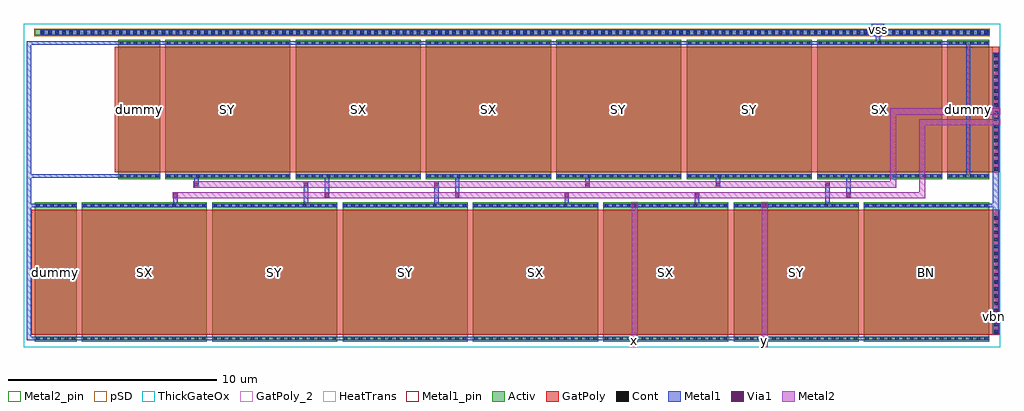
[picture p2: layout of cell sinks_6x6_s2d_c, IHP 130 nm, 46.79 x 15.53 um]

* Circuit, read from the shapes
.subckt sinks_6x6_s2d_c vbn vss x y
XM1 vss vbn vss vss sg13_hv_nmos w=2u l=6u m=3
XM2 x vbn vss vss sg13_hv_nmos w=6u l=6u m=6
XM3 vss vbn y vss sg13_hv_nmos w=6u l=6u m=6
XM4 vbn vbn vss vss sg13_hv_nmos w=6u l=6u
.ends

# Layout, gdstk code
import gdstk
lib = gdstk.Library(unit=1e-6, precision=1e-09)
def R(c, l, rs):  # rectangles x0, y0, x1, y1
    for r in rs: c.add(gdstk.rectangle(r[:2], r[2:], *l))
def A(c, l, x, y, w, h, nx, ny, dx, dy):  # array of equal rectangles
    R(c, l, [(x+i*dx, y+j*dy, x+i*dx+w, y+j*dy+h) for i in range(nx) for j in range(ny)])
Activ = (1, 0)
GatPoly = (5, 0)
GatPoly_2 = (5, 2)
Cont = (6, 0)
Metal1 = (8, 0)
Metal1_pin = (8, 2)
Metal2 = (10, 0)
Metal2_pin = (10, 2)
pSD = (14, 0)
Via1 = (19, 0)
ThickGateOx = (44, 0)
HeatTrans = (51, 0)

sinks_6x6_s2d_c = lib.new_cell('sinks_6x6_s2d_c')
A(sinks_6x6_s2d_c, Activ, 2.22, 0.27, 0.3, 0.3, 8, 2, 6.25, 6.38)
A(sinks_6x6_s2d_c, Activ, 2.77, 0.27, 6, 6.68, 7, 1, 6.25, 0)
A(sinks_6x6_s2d_c, Activ, 6.22, 8.065, 0.3, 0.3, 7, 2, 6.25, 6.38)
A(sinks_6x6_s2d_c, Activ, 6.77, 8.065, 6, 6.68, 6, 1, 6.25, 0)
R(sinks_6x6_s2d_c, Activ, [(0.52,0.27,2.52,6.95), (4.52,8.065,6.52,14.745), (44.27,8.065,46.27,14.745), (45.97,8.065,46.27,8.365), (45.97,14.445,46.27,14.745), (0.52,14.955,46.27,15.255)])
A(sinks_6x6_s2d_c, GatPoly, 2.59, 0.61, 6.36, 6, 7, 1, 6.25, 0)
A(sinks_6x6_s2d_c, GatPoly, 6.59, 8.405, 6.36, 6, 6, 1, 6.25, 0)
R(sinks_6x6_s2d_c, GatPoly, [(0.34,0.61,2.7,6.61), (46.27,0.61,46.745,6.61), (4.34,8.405,6.7,14.405), (44.09,8.405,46.45,14.405), (46.27,8.405,46.745,14.405)])
A(sinks_6x6_s2d_c, GatPoly_2, 2.59, 0.61, 6.36, 6, 7, 1, 6.25, 0)
A(sinks_6x6_s2d_c, GatPoly_2, 6.59, 8.405, 6.36, 6, 6, 1, 6.25, 0)
R(sinks_6x6_s2d_c, GatPoly_2, [(0.34,0.61,2.7,6.61), (4.34,8.405,6.7,14.405), (44.09,8.405,46.45,14.405)])
A(sinks_6x6_s2d_c, Cont, 0.59, 0.34, 0.16, 0.16, 6, 2, 0.34, 6.38)
A(sinks_6x6_s2d_c, Cont, 3.2, 0.34, 0.16, 0.16, 4, 2, 0.355, 6.38)
A(sinks_6x6_s2d_c, Cont, 4.625, 0.34, 0.16, 0.16, 4, 2, 0.355, 6.38)
A(sinks_6x6_s2d_c, Cont, 6.05, 0.34, 0.16, 0.16, 4, 2, 0.355, 6.38)
A(sinks_6x6_s2d_c, Cont, 7.475, 0.34, 0.16, 0.16, 4, 2, 0.355, 6.38)
A(sinks_6x6_s2d_c, Cont, 9.45, 0.34, 0.16, 0.16, 4, 2, 0.355, 6.38)
A(sinks_6x6_s2d_c, Cont, 10.875, 0.34, 0.16, 0.16, 4, 2, 0.355, 6.38)
A(sinks_6x6_s2d_c, Cont, 12.3, 0.34, 0.16, 0.16, 4, 2, 0.355, 6.38)
A(sinks_6x6_s2d_c, Cont, 13.725, 0.34, 0.16, 0.16, 4, 2, 0.355, 6.38)
A(sinks_6x6_s2d_c, Cont, 15.7, 0.34, 0.16, 0.16, 4, 2, 0.355, 6.38)
A(sinks_6x6_s2d_c, Cont, 17.125, 0.34, 0.16, 0.16, 4, 2, 0.355, 6.38)
A(sinks_6x6_s2d_c, Cont, 18.55, 0.34, 0.16, 0.16, 4, 2, 0.355, 6.38)
A(sinks_6x6_s2d_c, Cont, 19.975, 0.34, 0.16, 0.16, 4, 2, 0.355, 6.38)
A(sinks_6x6_s2d_c, Cont, 21.95, 0.34, 0.16, 0.16, 4, 2, 0.355, 6.38)
A(sinks_6x6_s2d_c, Cont, 23.375, 0.34, 0.16, 0.16, 4, 2, 0.355, 6.38)
A(sinks_6x6_s2d_c, Cont, 24.8, 0.34, 0.16, 0.16, 4, 2, 0.355, 6.38)
A(sinks_6x6_s2d_c, Cont, 26.225, 0.34, 0.16, 0.16, 4, 2, 0.355, 6.38)
A(sinks_6x6_s2d_c, Cont, 28.2, 0.34, 0.16, 0.16, 4, 2, 0.355, 6.38)
A(sinks_6x6_s2d_c, Cont, 29.625, 0.34, 0.16, 0.16, 4, 2, 0.355, 6.38)
A(sinks_6x6_s2d_c, Cont, 31.05, 0.34, 0.16, 0.16, 4, 2, 0.355, 6.38)
A(sinks_6x6_s2d_c, Cont, 32.475, 0.34, 0.16, 0.16, 4, 2, 0.355, 6.38)
A(sinks_6x6_s2d_c, Cont, 34.45, 0.34, 0.16, 0.16, 4, 2, 0.355, 6.38)
A(sinks_6x6_s2d_c, Cont, 35.875, 0.34, 0.16, 0.16, 4, 2, 0.355, 6.38)
A(sinks_6x6_s2d_c, Cont, 37.3, 0.34, 0.16, 0.16, 4, 2, 0.355, 6.38)
A(sinks_6x6_s2d_c, Cont, 38.725, 0.34, 0.16, 0.16, 4, 2, 0.355, 6.38)
A(sinks_6x6_s2d_c, Cont, 40.7, 0.34, 0.16, 0.16, 4, 2, 0.355, 6.38)
A(sinks_6x6_s2d_c, Cont, 42.125, 0.34, 0.16, 0.16, 4, 2, 0.355, 6.38)
A(sinks_6x6_s2d_c, Cont, 43.55, 0.34, 0.16, 0.16, 4, 2, 0.355, 6.38)
A(sinks_6x6_s2d_c, Cont, 44.975, 0.34, 0.16, 0.16, 4, 2, 0.355, 6.38)
A(sinks_6x6_s2d_c, Cont, 46.515, 0.68, 0.16, 0.16, 1, 17, 0, 0.34)
A(sinks_6x6_s2d_c, Cont, 4.59, 8.135, 0.16, 0.16, 6, 2, 0.34, 6.38)
A(sinks_6x6_s2d_c, Cont, 7.2, 8.135, 0.16, 0.16, 4, 2, 0.355, 6.38)
A(sinks_6x6_s2d_c, Cont, 8.625, 8.135, 0.16, 0.16, 4, 2, 0.355, 6.38)
A(sinks_6x6_s2d_c, Cont, 10.05, 8.135, 0.16, 0.16, 4, 2, 0.355, 6.38)
A(sinks_6x6_s2d_c, Cont, 11.475, 8.135, 0.16, 0.16, 4, 2, 0.355, 6.38)
A(sinks_6x6_s2d_c, Cont, 13.45, 8.135, 0.16, 0.16, 4, 2, 0.355, 6.38)
A(sinks_6x6_s2d_c, Cont, 14.875, 8.135, 0.16, 0.16, 4, 2, 0.355, 6.38)
A(sinks_6x6_s2d_c, Cont, 16.3, 8.135, 0.16, 0.16, 4, 2, 0.355, 6.38)
A(sinks_6x6_s2d_c, Cont, 17.725, 8.135, 0.16, 0.16, 4, 2, 0.355, 6.38)
A(sinks_6x6_s2d_c, Cont, 19.7, 8.135, 0.16, 0.16, 4, 2, 0.355, 6.38)
A(sinks_6x6_s2d_c, Cont, 21.125, 8.135, 0.16, 0.16, 4, 2, 0.355, 6.38)
A(sinks_6x6_s2d_c, Cont, 22.55, 8.135, 0.16, 0.16, 4, 2, 0.355, 6.38)
A(sinks_6x6_s2d_c, Cont, 23.975, 8.135, 0.16, 0.16, 4, 2, 0.355, 6.38)
A(sinks_6x6_s2d_c, Cont, 25.95, 8.135, 0.16, 0.16, 4, 2, 0.355, 6.38)
A(sinks_6x6_s2d_c, Cont, 27.375, 8.135, 0.16, 0.16, 4, 2, 0.355, 6.38)
A(sinks_6x6_s2d_c, Cont, 28.8, 8.135, 0.16, 0.16, 4, 2, 0.355, 6.38)
A(sinks_6x6_s2d_c, Cont, 30.225, 8.135, 0.16, 0.16, 4, 2, 0.355, 6.38)
A(sinks_6x6_s2d_c, Cont, 32.2, 8.135, 0.16, 0.16, 4, 2, 0.355, 6.38)
A(sinks_6x6_s2d_c, Cont, 33.625, 8.135, 0.16, 0.16, 4, 2, 0.355, 6.38)
A(sinks_6x6_s2d_c, Cont, 35.05, 8.135, 0.16, 0.16, 4, 2, 0.355, 6.38)
A(sinks_6x6_s2d_c, Cont, 36.475, 8.135, 0.16, 0.16, 4, 2, 0.355, 6.38)
A(sinks_6x6_s2d_c, Cont, 38.45, 8.135, 0.16, 0.16, 4, 2, 0.355, 6.38)
A(sinks_6x6_s2d_c, Cont, 39.875, 8.135, 0.16, 0.16, 4, 2, 0.355, 6.38)
A(sinks_6x6_s2d_c, Cont, 41.3, 8.135, 0.16, 0.16, 4, 2, 0.355, 6.38)
A(sinks_6x6_s2d_c, Cont, 42.725, 8.135, 0.16, 0.16, 4, 2, 0.355, 6.38)
A(sinks_6x6_s2d_c, Cont, 44.34, 8.135, 0.16, 0.16, 6, 2, 0.34, 6.38)
A(sinks_6x6_s2d_c, Cont, 46.515, 8.475, 0.16, 0.16, 1, 17, 0, 0.34)
A(sinks_6x6_s2d_c, Cont, 0.82, 15.025, 0.16, 0.16, 134, 1, 0.34, 0)
R(sinks_6x6_s2d_c, Cont, [(2.84,0.34,3,0.5), (9.09,0.34,9.25,0.5), (15.34,0.34,15.5,0.5), (21.59,0.34,21.75,0.5), (27.84,0.34,28,0.5), (34.09,0.34,34.25,0.5), (40.34,0.34,40.5,0.5), (2.84,6.72,3,6.88), (9.09,6.72,9.25,6.88), (15.34,6.72,15.5,6.88), (21.59,6.72,21.75,6.88), (27.84,6.72,28,6.88), (34.09,6.72,34.25,6.88), (40.34,6.72,40.5,6.88), (6.84,8.135,7,8.295), (13.09,8.135,13.25,8.295), (19.34,8.135,19.5,8.295), (25.59,8.135,25.75,8.295), (31.84,8.135,32,8.295), (38.09,8.135,38.25,8.295), (6.84,14.515,7,14.675), (13.09,14.515,13.25,14.675), (19.34,14.515,19.5,14.675), (25.59,14.515,25.75,14.675), (31.84,14.515,32,14.675), (38.09,14.515,38.25,14.675)])
A(sinks_6x6_s2d_c, Metal1, 2.77, 0.34, 6, 0.16, 7, 2, 6.25, 6.38)
A(sinks_6x6_s2d_c, Metal1, 6.77, 8.135, 6, 0.16, 6, 2, 6.25, 6.38)
R(sinks_6x6_s2d_c, Metal1, [(0.13,0.34,46.27,0.5), (0.13,0.34,0.34,14.675), (0.52,0.34,2.52,0.5), (46.45,0.63,46.74,14.125), (29.125,6.695,29.415,6.905), (35.375,6.695,35.665,6.905), (0.13,6.72,2.52,6.88), (0.52,6.72,2.52,6.88), (7.165,6.72,7.375,7.445), (13.415,6.72,13.625,7.955), (19.665,6.72,19.875,7.955), (25.915,6.72,26.125,7.445), (32.165,6.72,32.375,7.445), (38.415,6.72,38.625,7.955), (46.27,6.72,46.74,6.88), (14.415,7.155,14.625,8.295), (20.665,7.155,20.875,8.295), (39.415,7.155,39.625,8.295), (8.165,7.665,8.375,8.295), (26.915,7.665,27.125,8.295), (33.165,7.665,33.375,8.295), (0.13,8.135,6.52,8.295), (4.52,8.135,6.52,8.295), (44.27,8.135,46.27,8.295), (45.17,8.135,45.37,14.675), (0.13,14.515,46.27,14.675), (4.52,14.515,6.52,14.675), (40.84,14.515,41.05,15.025), (44.27,14.515,46.27,14.675), (40.65,14.925,41.25,15.525), (0.77,14.975,46.25,15.235)])
A(sinks_6x6_s2d_c, Metal1_pin, 2.77, 0.34, 6, 0.16, 7, 2, 6.25, 6.38)
A(sinks_6x6_s2d_c, Metal1_pin, 6.77, 8.135, 6, 0.16, 6, 2, 6.25, 6.38)
R(sinks_6x6_s2d_c, Metal1_pin, [(0.52,0.34,2.52,0.5), (0.52,6.72,2.52,6.88), (4.52,8.135,6.52,8.295), (44.27,8.135,46.27,8.295), (4.52,14.515,6.52,14.675), (44.27,14.515,46.27,14.675), (40.65,14.925,41.25,15.525)])
R(sinks_6x6_s2d_c, Metal2, [(29.125,0,29.415,6.945), (35.375,0,35.665,6.945), (46.22,1.325,46.79,1.615), (7.125,7.155,43.215,7.445), (42.925,7.155,43.215,10.945), (8.125,7.665,41.815,7.955), (41.525,7.665,41.815,11.455), (42.925,10.655,46.79,10.945), (41.525,11.165,46.79,11.455)])
R(sinks_6x6_s2d_c, Metal2_pin, [(29.125,0,29.415,0.7), (35.375,0,35.665,0.7), (46.22,1.325,46.79,1.615), (46.19,10.655,46.79,10.945), (46.19,11.165,46.79,11.455)])
R(sinks_6x6_s2d_c, pSD, [(0.49,14.925,46.3,15.285)])
R(sinks_6x6_s2d_c, Via1, [(46.5,1.375,46.69,1.565), (29.175,6.705,29.365,6.895), (35.425,6.705,35.615,6.895), (7.175,7.205,7.365,7.395), (14.425,7.205,14.615,7.395), (20.675,7.205,20.865,7.395), (25.925,7.205,26.115,7.395), (32.175,7.205,32.365,7.395), (39.425,7.205,39.615,7.395), (8.175,7.715,8.365,7.905), (13.425,7.715,13.615,7.905), (19.675,7.715,19.865,7.905), (26.925,7.715,27.115,7.905), (33.175,7.715,33.365,7.905), (38.425,7.715,38.615,7.905)])
A(sinks_6x6_s2d_c, ThickGateOx, 2.25, 0, 7.04, 7.22, 7, 1, 6.25, 0)
A(sinks_6x6_s2d_c, ThickGateOx, 6.25, 7.795, 7.04, 7.22, 6, 1, 6.25, 0)
R(sinks_6x6_s2d_c, ThickGateOx, [(0,0,46.79,15.525), (0,0,3.04,7.22), (4,7.795,7.04,15.015), (43.75,7.795,46.79,15.015), (0,8.065,46.79,15.525)])
A(sinks_6x6_s2d_c, HeatTrans, 2.59, 0.61, 6.36, 6, 7, 1, 6.25, 0)
A(sinks_6x6_s2d_c, HeatTrans, 6.59, 8.405, 6.36, 6, 6, 1, 6.25, 0)
R(sinks_6x6_s2d_c, HeatTrans, [(0.34,0.61,2.7,6.61), (4.34,8.405,6.7,14.405), (44.09,8.405,46.45,14.405)])
sinks_6x6_s2d_c.add(gdstk.Label('BN', (43.27,3.61), layer=63, texttype=0))
sinks_6x6_s2d_c.add(gdstk.Label('SY', (37.02,3.61), layer=63, texttype=0))
sinks_6x6_s2d_c.add(gdstk.Label('SX', (30.77,3.61), layer=63, texttype=0))
sinks_6x6_s2d_c.add(gdstk.Label('SX', (24.52,3.61), layer=63, texttype=0))
sinks_6x6_s2d_c.add(gdstk.Label('SY', (18.27,3.61), layer=63, texttype=0))
sinks_6x6_s2d_c.add(gdstk.Label('SY', (12.02,3.61), layer=63, texttype=0))
sinks_6x6_s2d_c.add(gdstk.Label('SX', (5.77,3.61), layer=63, texttype=0))
sinks_6x6_s2d_c.add(gdstk.Label('dummy', (1.52,3.61), layer=63, texttype=0))
sinks_6x6_s2d_c.add(gdstk.Label('dummy', (45.27,11.405), layer=63, texttype=0))
sinks_6x6_s2d_c.add(gdstk.Label('SX', (41.02,11.405), layer=63, texttype=0))
sinks_6x6_s2d_c.add(gdstk.Label('SY', (34.77,11.405), layer=63, texttype=0))
sinks_6x6_s2d_c.add(gdstk.Label('SY', (28.52,11.405), layer=63, texttype=0))
sinks_6x6_s2d_c.add(gdstk.Label('SX', (22.27,11.405), layer=63, texttype=0))
sinks_6x6_s2d_c.add(gdstk.Label('SX', (16.02,11.405), layer=63, texttype=0))
sinks_6x6_s2d_c.add(gdstk.Label('SY', (9.77,11.405), layer=63, texttype=0))
sinks_6x6_s2d_c.add(gdstk.Label('dummy', (5.52,11.405), layer=63, texttype=0))
sinks_6x6_s2d_c.add(gdstk.Label('nmosHV', (43.27,3.61), layer=63, texttype=0))
sinks_6x6_s2d_c.add(gdstk.Label('nmosHV', (37.02,3.61), layer=63, texttype=0))
sinks_6x6_s2d_c.add(gdstk.Label('nmosHV', (30.77,3.61), layer=63, texttype=0))
sinks_6x6_s2d_c.add(gdstk.Label('nmosHV', (24.52,3.61), layer=63, texttype=0))
sinks_6x6_s2d_c.add(gdstk.Label('nmosHV', (18.27,3.61), layer=63, texttype=0))
sinks_6x6_s2d_c.add(gdstk.Label('nmosHV', (12.02,3.61), layer=63, texttype=0))
sinks_6x6_s2d_c.add(gdstk.Label('nmosHV', (5.77,3.61), layer=63, texttype=0))
sinks_6x6_s2d_c.add(gdstk.Label('nmosHV', (1.52,3.61), layer=63, texttype=0))
sinks_6x6_s2d_c.add(gdstk.Label('nmosHV', (45.27,11.405), layer=63, texttype=0))
sinks_6x6_s2d_c.add(gdstk.Label('nmosHV', (41.02,11.405), layer=63, texttype=0))
sinks_6x6_s2d_c.add(gdstk.Label('nmosHV', (34.77,11.405), layer=63, texttype=0))
sinks_6x6_s2d_c.add(gdstk.Label('nmosHV', (28.52,11.405), layer=63, texttype=0))
sinks_6x6_s2d_c.add(gdstk.Label('nmosHV', (22.27,11.405), layer=63, texttype=0))
sinks_6x6_s2d_c.add(gdstk.Label('nmosHV', (16.02,11.405), layer=63, texttype=0))
sinks_6x6_s2d_c.add(gdstk.Label('nmosHV', (9.77,11.405), layer=63, texttype=0))
sinks_6x6_s2d_c.add(gdstk.Label('nmosHV', (5.52,11.405), layer=63, texttype=0))
sinks_6x6_s2d_c.add(gdstk.Label('nmosHV', (43.27,3.61), layer=51, texttype=0))
sinks_6x6_s2d_c.add(gdstk.Label('nmosHV', (37.02,3.61), layer=51, texttype=0))
sinks_6x6_s2d_c.add(gdstk.Label('nmosHV', (30.77,3.61), layer=51, texttype=0))
sinks_6x6_s2d_c.add(gdstk.Label('nmosHV', (24.52,3.61), layer=51, texttype=0))
sinks_6x6_s2d_c.add(gdstk.Label('nmosHV', (18.27,3.61), layer=51, texttype=0))
sinks_6x6_s2d_c.add(gdstk.Label('nmosHV', (12.02,3.61), layer=51, texttype=0))
sinks_6x6_s2d_c.add(gdstk.Label('nmosHV', (5.77,3.61), layer=51, texttype=0))
sinks_6x6_s2d_c.add(gdstk.Label('nmosHV', (1.52,3.61), layer=51, texttype=0))
sinks_6x6_s2d_c.add(gdstk.Label('nmosHV', (45.27,11.405), layer=51, texttype=0))
sinks_6x6_s2d_c.add(gdstk.Label('nmosHV', (41.02,11.405), layer=51, texttype=0))
sinks_6x6_s2d_c.add(gdstk.Label('nmosHV', (34.77,11.405), layer=51, texttype=0))
sinks_6x6_s2d_c.add(gdstk.Label('nmosHV', (28.52,11.405), layer=51, texttype=0))
sinks_6x6_s2d_c.add(gdstk.Label('nmosHV', (22.27,11.405), layer=51, texttype=0))
sinks_6x6_s2d_c.add(gdstk.Label('nmosHV', (16.02,11.405), layer=51, texttype=0))
sinks_6x6_s2d_c.add(gdstk.Label('nmosHV', (9.77,11.405), layer=51, texttype=0))
sinks_6x6_s2d_c.add(gdstk.Label('nmosHV', (5.52,11.405), layer=51, texttype=0))
sinks_6x6_s2d_c.add(gdstk.Label('vss', (40.95,15.225), layer=8, texttype=25))
sinks_6x6_s2d_c.add(gdstk.Label('vbn', (46.505,1.47), layer=10, texttype=25))
sinks_6x6_s2d_c.add(gdstk.Label('x', (29.27,0.35), layer=10, texttype=25))
sinks_6x6_s2d_c.add(gdstk.Label('y', (35.52,0.35), layer=10, texttype=25))
sinks_6x6_s2d_c.add(gdstk.Label('x', (46.49,10.8), layer=10, texttype=25))
sinks_6x6_s2d_c.add(gdstk.Label('y', (46.49,11.31), layer=10, texttype=25))

lib.write_gds('sinks_6x6_s2d_c.gds')
